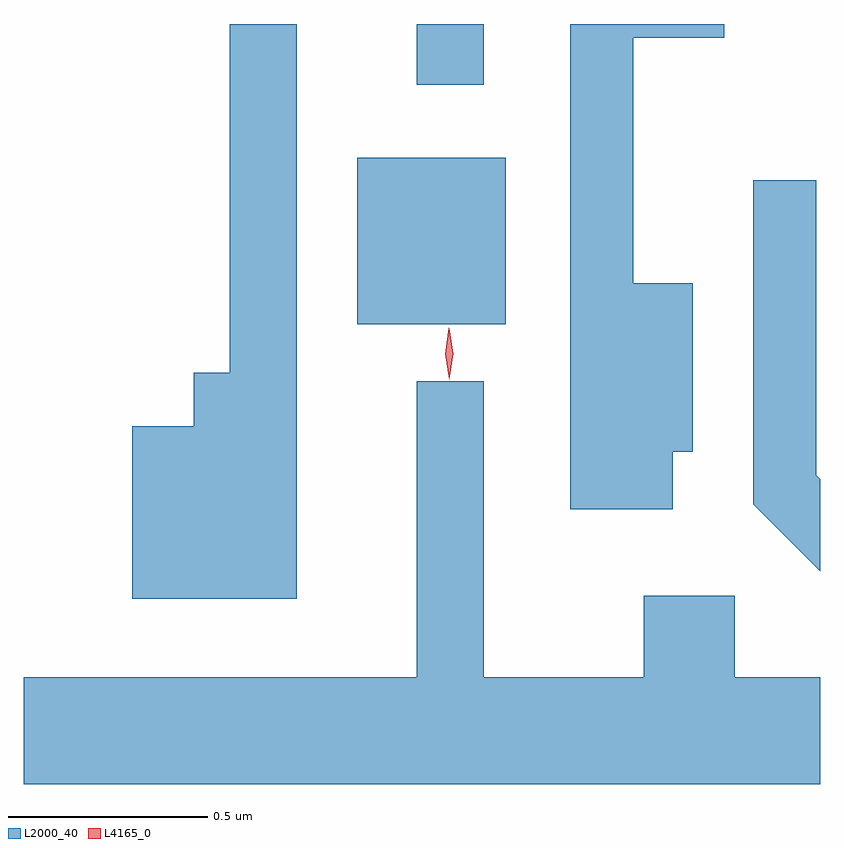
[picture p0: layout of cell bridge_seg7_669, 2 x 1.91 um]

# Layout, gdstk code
import gdstk
lib = gdstk.Library(unit=1e-6, precision=1e-09)
def R(c, l, rs):  # rectangles x0, y0, x1, y1
    for r in rs: c.add(gdstk.rectangle(r[:2], r[2:], *l))
def P(c, l, *ps):  # polygons
    for p in ps: c.add(gdstk.Polygon(p, *l))
L2000_40 = (2000, 40)
L4165_0 = (4165, 0)

bridge_seg7_669 = lib.new_cell('bridge_seg7_669')
R(bridge_seg7_669, L2000_40, [(697.971,1671.071,698.344,1671.489), (698.121,1671.673,698.289,1671.825)])
P(bridge_seg7_669, L2000_40, [(698.764,1670.751),(698.814,1670.751),(698.814,1671.174),(698.664,1671.174),(698.664,1671.791),(698.893,1671.791),(698.893,1671.825),(698.506,1671.825),(698.506,1670.606),(698.764,1670.606)],
  [(697.819,1671.825),(697.651,1671.825),(697.651,1670.949),(697.561,1670.949),(697.561,1670.814),(697.406,1670.814),(697.406,1670.381),(697.819,1670.381)],
  [(699.134,1670.682),(699.124,1670.692),(699.124,1671.433),(698.966,1671.433),(698.966,1670.619),(699.134,1670.451)],
  [(699.134,1670.184),(698.919,1670.184),(698.919,1670.389),(698.691,1670.389),(698.691,1670.184),(698.289,1670.184),(698.289,1670.928),(698.121,1670.928),(698.121,1670.184),(697.134,1670.184),(697.134,1669.916),(699.134,1669.916)])
P(bridge_seg7_669, L4165_0, [(698.202,1670.932),(698.202,1670.933),(698.192,1670.997),(698.201,1671.061),(698.201,1671.062),(698.202,1671.061),(698.212,1670.997),(698.203,1670.933)])

lib.write_gds('bridge_seg7_669.gds')
